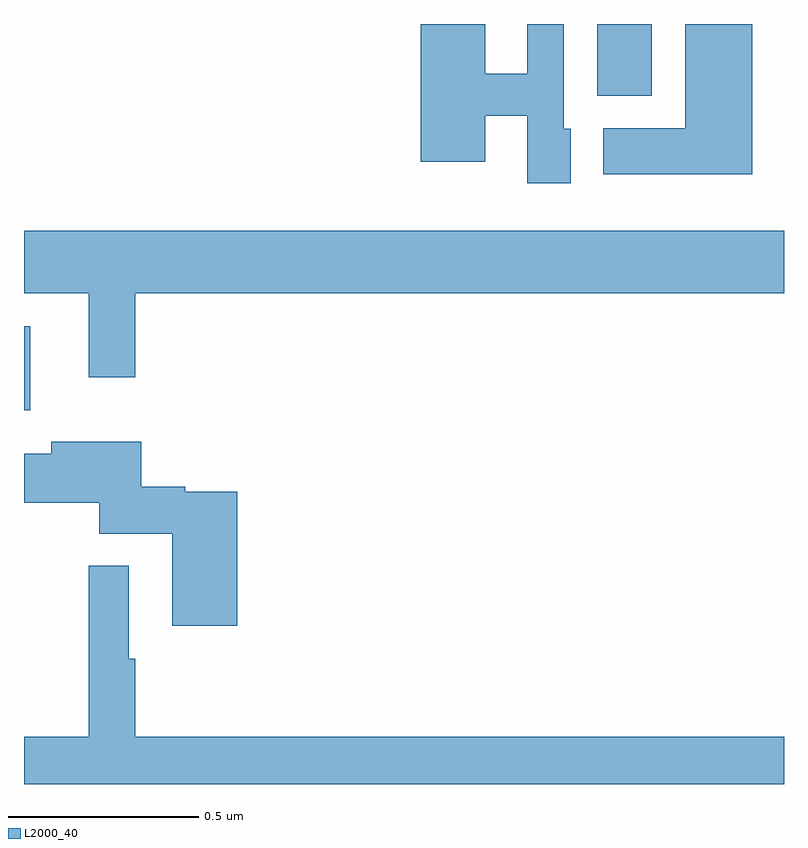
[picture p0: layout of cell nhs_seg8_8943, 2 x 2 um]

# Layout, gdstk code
import gdstk
lib = gdstk.Library(unit=1e-6, precision=1e-09)
def R(c, l, rs):  # rectangles x0, y0, x1, y1
    for r in rs: c.add(gdstk.rectangle(r[:2], r[2:], *l))
def P(c, l, *ps):  # polygons
    for p in ps: c.add(gdstk.Polygon(p, *l))
L2000_40 = (2000, 40)

nhs_seg8_8943 = lib.new_cell('nhs_seg8_8943')
R(nhs_seg8_8943, L2000_40, [(230,1090.883,230.017,1091.104), (231.509,1091.711,231.652,1091.9)])
P(nhs_seg8_8943, L2000_40, [(231.439,1091.625),(231.42,1091.625),(231.42,1091.9),(231.324,1091.9),(231.324,1091.769),(231.214,1091.769),(231.214,1091.899),(231.044,1091.899),(231.044,1091.538),(231.214,1091.538),(231.214,1091.658),(231.324,1091.658),(231.324,1091.481),(231.439,1091.481)],
  [(231.916,1091.9),(231.74,1091.9),(231.74,1091.626),(231.524,1091.626),(231.524,1091.504),(231.916,1091.504)],
  [(230.293,1091.192),(232,1091.192),(232,1091.356),(230,1091.356),(230,1091.192),(230.171,1091.192),(230.171,1090.971),(230.293,1090.971)],
  [(230.561,1090.669),(230.424,1090.669),(230.424,1090.682),(230.308,1090.682),(230.308,1090.801),(230.072,1090.801),(230.072,1090.769),(230,1090.769),(230,1090.64),(230.198,1090.64),(230.198,1090.559),(230.39,1090.559),(230.39,1090.317),(230.561,1090.317)],
  [(232,1090.024),(230.293,1090.024),(230.293,1090.229),(230.275,1090.229),(230.275,1090.474),(230.171,1090.474),(230.171,1090.024),(230,1090.024),(230,1089.9),(232,1089.9)])

lib.write_gds('nhs_seg8_8943.gds')
